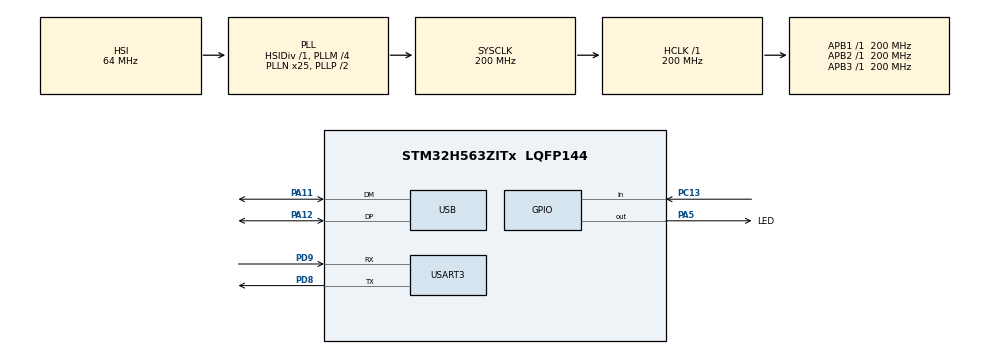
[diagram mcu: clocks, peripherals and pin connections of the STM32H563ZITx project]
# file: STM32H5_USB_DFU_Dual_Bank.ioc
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BOOTPATH.BootPathName=LEGACY
BOOTPATH.UserSelectedBootPath=LEGACY
CORTEX_M33_NS.userName=CORTEX_M33
Mcu.Family=STM32H5
Mcu.Name=STM32H563ZITx
Mcu.Package=LQFP144
NVIC.PriorityGroup=NVIC_PRIORITYGROUP_4
NVIC.USB_DRD_FS_IRQn=true\:0\:0\:false\:false\:true\:true\:true\:true
PA11.Mode=Device
PA11.Signal=USB_DM
PA12.Mode=Device
PA12.Signal=USB_DP
PA5.GPIO_Label=LED
PA5.Signal=GPIO_Output
PC13.Signal=GPIO_Input
PD8.Mode=Asynchronous
PD8.Signal=USART3_TX
PD9.Mode=Asynchronous
PD9.Signal=USART3_RX
ProjectManager.HeapSize=0x4000
ProjectManager.StackSize=0x2000
ProjectManager.TargetToolchain=STM32CubeIDE
RCC.ADCFreq_Value=200000000
RCC.AHBFreq_Value=200000000
RCC.APB1Freq_Value=200000000
RCC.APB1TimFreq_Value=200000000
RCC.APB2Freq_Value=200000000
RCC.APB2TimFreq_Value=200000000
RCC.APB3Freq_Value=200000000
RCC.CSI_VALUE=4000000
RCC.CortexFreq_Value=200000000
RCC.EPOD_VALUE=64000000
RCC.HCLKFreq_Value=200000000
RCC.HSE_VALUE=25000000
RCC.HSI48_VALUE=48000000
RCC.HSIDiv=RCC_HSI_DIV1
RCC.HSI_VALUE=64000000
RCC.LSE_VALUE=32768
RCC.LSIRC_VALUE=32000
RCC.PLL2FRACN=0
RCC.PLL3FRACN=0
RCC.PLLFRACN=0
RCC.PLLM=4
RCC.PLLN=25
RCC.PLLSourceVirtual=RCC_PLL1_SOURCE_HSI
RCC.SYSCLKFreq_VALUE=200000000
RCC.SYSCLKSource=RCC_SYSCLKSOURCE_PLLCLK
RCC.USBFreq_Value=48000000
RCC.VCOOutputFreq_Value=400000000
USART3.VirtualMode-Asynchronous=VM_ASYNC
USB.VirtualMode=Device_Only
VP_BOOTPATH_VS_BOOTPATH.Mode=BP_Activate
VP_CORTEX_M33_NS_VS_Hclk.Mode=Hclk_Mode
VP_MEMORYMAP_VS_MEMORYMAP.Mode=CurAppReg
VP_PWR_VS_DBSignals.Mode=DisableDeadBatterySignals
VP_PWR_VS_LPOM.Mode=PowerOptimisation
VP_PWR_VS_SECSignals.Mode=Security/Privilege
VP_RCC_USB.Mode=CRS SYNC Source USB
board=custom

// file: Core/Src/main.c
/* USER CODE BEGIN Header */
/**
  ******************************************************************************
  * @file           : main.c
  * @brief          : Main program body
  ******************************************************************************
  * @attention
  *
  * Copyright (c) 2024 STMicroelectronics.
  * All rights reserved.
  *
  * This software is licensed under terms that can be found in the LICENSE file
  * in the root directory of this software component.
  * If no LICENSE file comes with this software, it is provided AS-IS.
  *
  ******************************************************************************
  */
/* USER CODE END Header */
#include "main.h"

/* USER CODE BEGIN Includes */
#include "usb_device.h"
/* USER CODE END Includes */

/* USER CODE BEGIN PTD */
typedef  void (*pFunction)(void);
/* USER CODE END PTD */

UART_HandleTypeDef huart3;

PCD_HandleTypeDef hpcd_USB_DRD_FS;

/* USER CODE BEGIN PV */
uint32_t erase_operation;
uint32_t end_of_download_operation;
/* USER CODE END PV */

void SystemClock_Config(void);
static void MX_GPIO_Init(void);
static void MX_USB_PCD_Init(void);
static void MX_USART3_UART_Init(void);
/* USER CODE BEGIN PFP */
uint32_t GetActiveBank(void);
void SwapBanks(void);
/* USER CODE END PFP */

int main(void)
{

  /* USER CODE BEGIN 1 */
	 pFunction JumpToApplication;
	 uint32_t JumpAddress;
	 uint32_t i=0;

	 // variables used to decide on a bank swap
	 erase_operation=0;
	 end_of_download_operation=0;
  /* USER CODE END 1 */

  /* MCU Configuration--------------------------------------------------------*/

  /* Reset of all peripherals, Initializes the Flash interface and the Systick. */
  HAL_Init();

  /* Configure the system clock */
  SystemClock_Config();

  /* Initialize all configured peripherals */
  MX_GPIO_Init();
  MX_USART3_UART_Init();
  /* USER CODE BEGIN 2 */
  printf("\nBooting...\n");
  i=GetActiveBank();
  /* Check if the User push-button is pressed */
  if (HAL_GPIO_ReadPin(GPIOC, GPIO_PIN_13) == GPIO_PIN_RESET)
  {
  	printf("Button not pressed\n");
    /* Test if user code is programmed starting from address 0x08022000 */
    if (((*(__IO uint32_t *) USBD_DFU_APP_DEFAULT_ADDR) & USBD_DFU_APP_MASK) ==
        USBD_DFU_APP_START_ADDR)
    {
    	printf("Application Code found\n");
    	printf("Jumping to Application Code\n");

    	/* Disable all interrupts */
    	__disable_irq();

    	/* Disable Systick timer */
    	SysTick->CTRL = 0;

    	/* Set the clock to the default state */
    	HAL_RCC_DeInit();

    	/* Clear Interrupt Enable Register & Interrupt Pending Register */
    	for (i=0;i<5;i++)
    	{
    		NVIC->ICER[i]=0xFFFFFFFF;
    		NVIC->ICPR[i]=0xFFFFFFFF;
    	}

    	/* Re-enable all interrupts */
    	__enable_irq();

      /* Jump to user application */
      JumpAddress = *(__IO uint32_t *) (USBD_DFU_APP_DEFAULT_ADDR + 4);
      JumpToApplication = (pFunction) JumpAddress;

      /* Initialize user application's Stack Pointer */
      __set_MSP(*(__IO uint32_t *) USBD_DFU_APP_DEFAULT_ADDR);
      //printf("Jump to Application Code\n\r");
      JumpToApplication();
    }
    else
    {
    	printf("Application Code NOT found\n");
    }

  }
  else
  {
	  	printf("Button pressed\n");
  }

printf("Launching USB DFU\n");
  MX_USB_Device_Init();
  /* USER CODE END 2 */

  /* Infinite loop */
  /* USER CODE BEGIN WHILE */
  while (1)
  {

#if 0
		 // test if an erasse and  firmware upgrade and verification has been done, then do a swap because this indicates a firmware update
		 if ((erase_operation==1) && (end_of_download_operation==1) &&(verification_operation ==1))
	  	  //if ((erase_operation==1) && (end_of_download_operation==1))
	  	  {

			 erase_operation=0;
			 end_of_download_operation=0;
			 verification_operation=0;

			 SwapBanks();
		 }
#endif

    /* USER CODE END WHILE */

  }
}

void SystemClock_Config(void)
{
  RCC_OscInitTypeDef RCC_OscInitStruct = {0};
  RCC_ClkInitTypeDef RCC_ClkInitStruct = {0};
  RCC_CRSInitTypeDef RCC_CRSInitStruct = {0};

  /** Configure the main internal regulator output voltage
  */
  __HAL_PWR_VOLTAGESCALING_CONFIG(PWR_REGULATOR_VOLTAGE_SCALE1);

  while(!__HAL_PWR_GET_FLAG(PWR_FLAG_VOSRDY)) {}

  /** Initializes the RCC Oscillators according to the specified parameters
  * in the RCC_OscInitTypeDef structure.
  */
  RCC_OscInitStruct.OscillatorType = RCC_OSCILLATORTYPE_HSI48|RCC_OSCILLATORTYPE_HSI;
  RCC_OscInitStruct.HSIState = RCC_HSI_ON;
  RCC_OscInitStruct.HSIDiv = RCC_HSI_DIV1;
  RCC_OscInitStruct.HSICalibrationValue = RCC_HSICALIBRATION_DEFAULT;
  RCC_OscInitStruct.HSI48State = RCC_HSI48_ON;
  RCC_OscInitStruct.PLL.PLLState = RCC_PLL_ON;
  RCC_OscInitStruct.PLL.PLLSource = RCC_PLL1_SOURCE_HSI;
  RCC_OscInitStruct.PLL.PLLM = 4;
  RCC_OscInitStruct.PLL.PLLN = 25;
  RCC_OscInitStruct.PLL.PLLP = 2;
  RCC_OscInitStruct.PLL.PLLQ = 2;
  RCC_OscInitStruct.PLL.PLLR = 2;
  RCC_OscInitStruct.PLL.PLLRGE = RCC_PLL1_VCIRANGE_3;
  RCC_OscInitStruct.PLL.PLLVCOSEL = RCC_PLL1_VCORANGE_WIDE;
  RCC_OscInitStruct.PLL.PLLFRACN = 0;
  if (HAL_RCC_OscConfig(&RCC_OscInitStruct) != HAL_OK)
  {
    Error_Handler();
  }

  /** Initializes the CPU, AHB and APB buses clocks
  */
  RCC_ClkInitStruct.ClockType = RCC_CLOCKTYPE_HCLK|RCC_CLOCKTYPE_SYSCLK
                              |RCC_CLOCKTYPE_PCLK1|RCC_CLOCKTYPE_PCLK2
                              |RCC_CLOCKTYPE_PCLK3;
  RCC_ClkInitStruct.SYSCLKSource = RCC_SYSCLKSOURCE_PLLCLK;
  RCC_ClkInitStruct.AHBCLKDivider = RCC_SYSCLK_DIV1;
  RCC_ClkInitStruct.APB1CLKDivider = RCC_HCLK_DIV1;
  RCC_ClkInitStruct.APB2CLKDivider = RCC_HCLK_DIV1;
  RCC_ClkInitStruct.APB3CLKDivider = RCC_HCLK_DIV1;

  if (HAL_RCC_ClockConfig(&RCC_ClkInitStruct, FLASH_LATENCY_5) != HAL_OK)
  {
    Error_Handler();
  }

  /** Enable the CRS APB clock
  */
  __HAL_RCC_CRS_CLK_ENABLE();

  /** Configures CRS
  */
  RCC_CRSInitStruct.Prescaler = RCC_CRS_SYNC_DIV1;
  RCC_CRSInitStruct.Source = RCC_CRS_SYNC_SOURCE_USB;
  RCC_CRSInitStruct.Polarity = RCC_CRS_SYNC_POLARITY_RISING;
  RCC_CRSInitStruct.ReloadValue = __HAL_RCC_CRS_RELOADVALUE_CALCULATE(48000000,1000);
  RCC_CRSInitStruct.ErrorLimitValue = 34;
  RCC_CRSInitStruct.HSI48CalibrationValue = 32;

  HAL_RCCEx_CRSConfig(&RCC_CRSInitStruct);

  /** Configure the programming delay
  */
  __HAL_FLASH_SET_PROGRAM_DELAY(FLASH_PROGRAMMING_DELAY_2);
}

static void MX_USART3_UART_Init(void)
{

  huart3.Instance = USART3;
  huart3.Init.BaudRate = 115200;
  huart3.Init.WordLength = UART_WORDLENGTH_8B;
  huart3.Init.StopBits = UART_STOPBITS_1;
  huart3.Init.Parity = UART_PARITY_NONE;
  huart3.Init.Mode = UART_MODE_TX_RX;
  huart3.Init.HwFlowCtl = UART_HWCONTROL_NONE;
  huart3.Init.OverSampling = UART_OVERSAMPLING_16;
  huart3.Init.OneBitSampling = UART_ONE_BIT_SAMPLE_DISABLE;
  huart3.Init.ClockPrescaler = UART_PRESCALER_DIV1;
  huart3.AdvancedInit.AdvFeatureInit = UART_ADVFEATURE_NO_INIT;
  if (HAL_UART_Init(&huart3) != HAL_OK)
  {
    Error_Handler();
  }
  if (HAL_UARTEx_SetTxFifoThreshold(&huart3, UART_TXFIFO_THRESHOLD_1_8) != HAL_OK)
  {
    Error_Handler();
  }
  if (HAL_UARTEx_SetRxFifoThreshold(&huart3, UART_RXFIFO_THRESHOLD_1_8) != HAL_OK)
  {
    Error_Handler();
  }
  if (HAL_UARTEx_DisableFifoMode(&huart3) != HAL_OK)
  {
    Error_Handler();
  }

}

static void MX_USB_PCD_Init(void)
{

  hpcd_USB_DRD_FS.Instance = USB_DRD_FS;
  hpcd_USB_DRD_FS.Init.dev_endpoints = 8;
  hpcd_USB_DRD_FS.Init.speed = USBD_FS_SPEED;
  hpcd_USB_DRD_FS.Init.phy_itface = PCD_PHY_EMBEDDED;
  hpcd_USB_DRD_FS.Init.Sof_enable = DISABLE;
  hpcd_USB_DRD_FS.Init.low_power_enable = DISABLE;
  hpcd_USB_DRD_FS.Init.lpm_enable = DISABLE;
  hpcd_USB_DRD_FS.Init.battery_charging_enable = DISABLE;
  hpcd_USB_DRD_FS.Init.vbus_sensing_enable = DISABLE;
  hpcd_USB_DRD_FS.Init.bulk_doublebuffer_enable = DISABLE;
  hpcd_USB_DRD_FS.Init.iso_singlebuffer_enable = DISABLE;
  if (HAL_PCD_Init(&hpcd_USB_DRD_FS) != HAL_OK)
  {
    Error_Handler();
  }

}

static void MX_GPIO_Init(void)
{
  GPIO_InitTypeDef GPIO_InitStruct = {0};

  /* GPIO Ports Clock Enable */
  __HAL_RCC_GPIOC_CLK_ENABLE();
  __HAL_RCC_GPIOA_CLK_ENABLE();
  __HAL_RCC_GPIOD_CLK_ENABLE();

  /*Configure GPIO pin Output Level */
  HAL_GPIO_WritePin(LED_GPIO_Port, LED_Pin, GPIO_PIN_RESET);

  /*Configure GPIO pin : PC13 */
  GPIO_InitStruct.Pin = GPIO_PIN_13;
  GPIO_InitStruct.Mode = GPIO_MODE_INPUT;
  GPIO_InitStruct.Pull = GPIO_NOPULL;
  HAL_GPIO_Init(GPIOC, &GPIO_InitStruct);

  /*Configure GPIO pin : LED_Pin */
  GPIO_InitStruct.Pin = LED_Pin;
  GPIO_InitStruct.Mode = GPIO_MODE_OUTPUT_PP;
  GPIO_InitStruct.Pull = GPIO_NOPULL;
  GPIO_InitStruct.Speed = GPIO_SPEED_FREQ_LOW;
  HAL_GPIO_Init(LED_GPIO_Port, &GPIO_InitStruct);

}

/* USER CODE BEGIN 4 */
void SwapBanks(void)
{
	FLASH_OBProgramInitTypeDef OBInit;

	  /* Unlock the User Flash area */
	  HAL_FLASH_Unlock();

	  HAL_FLASH_OB_Unlock();
    /* Get the boot configuration status */
     HAL_FLASHEx_OBGetConfig(&OBInit);

     /* Check Swap Flash banks  status */
     if ((OBInit.USERConfig & OB_SWAP_BANK_ENABLE) == OB_SWAP_BANK_DISABLE)
     {
       /*Swap to bank2 */
    	 printf("Swap to bank2\n\r");
       /*Set OB SWAP_BANK_OPT to swap Bank2*/
       OBInit.OptionType = OPTIONBYTE_USER;
       OBInit.USERType = OB_USER_SWAP_BANK;;
       OBInit.USERConfig = OB_SWAP_BANK_ENABLE;
       HAL_FLASHEx_OBProgram(&OBInit);

       /* Launch Option bytes loading */
       HAL_FLASH_OB_Launch();

       /* Reset the MCU */
       HAL_NVIC_SystemReset();
     }
     else
     {
       /* Swap to bank1 */
    	 printf("Swap to bank1\n\r");
       /*Set OB SWAP_BANK_OPT to swap Bank1*/
       OBInit.OptionType = OPTIONBYTE_USER;
       OBInit.USERType = OB_USER_SWAP_BANK;
       OBInit.USERConfig = OB_SWAP_BANK_DISABLE;
       HAL_FLASHEx_OBProgram(&OBInit);

       /* Launch Option bytes loading */
       HAL_FLASH_OB_Launch();

       /* Reset the MCU */
       HAL_NVIC_SystemReset();
     }
}

uint32_t GetActiveBank(void)
{
	FLASH_OBProgramInitTypeDef OBInit;
    /* Get the boot configuration status */
     HAL_FLASHEx_OBGetConfig(&OBInit);

     /* Check Swap Flash banks  status */
     if ((OBInit.USERConfig & OB_SWAP_BANK_ENABLE) == OB_SWAP_BANK_DISABLE)
     {
    	 /*Active Bank is bank 1 */
    	 printf("Active Bank is bank 1\n");
    	 return BANK1_ACTIVE;

     }
     else
     {
    	 /*Active Bank is bank 2 */
    	 printf("Active Bank is bank 2\n");
    	 return BANK2_ACTIVE;

     }

}

PUTCHAR_PROTOTYPE
{
  HAL_UART_Transmit(&huart3, (uint8_t *)&ch, 1, 0xFFFF);
  return ch;
}

/* USER CODE END 4 */

void Error_Handler(void)
{
  __disable_irq();
  while (1)
  {
  }
}
